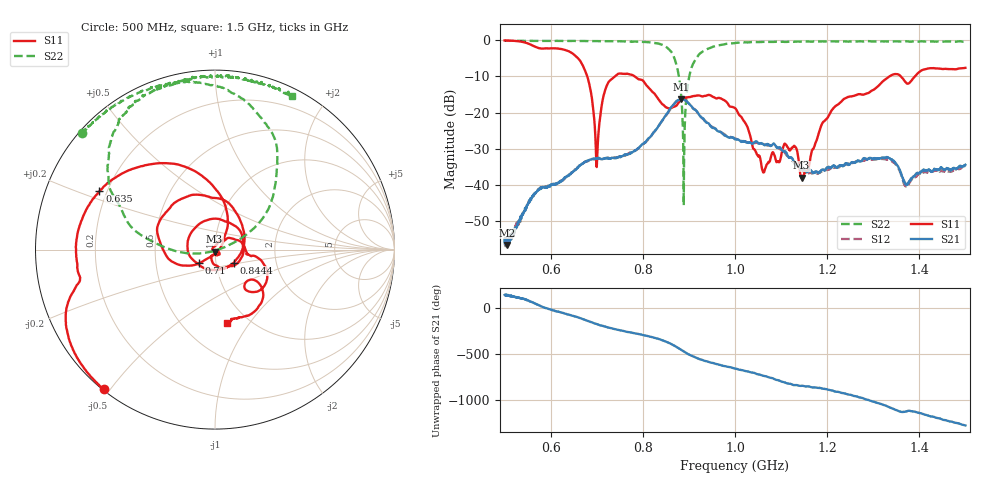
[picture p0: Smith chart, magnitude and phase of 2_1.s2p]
!Agilent Technologies,E8364B,US42250235,A.06.04.32
!Agilent E8364B: A.06.04.32
!Date: Friday, January 15, 2021 11:44:06
!Correction: S11(Full 2 Port(1,2)) S21(Full 2 Port(1,2)) S12(Full 2 Port(1,2)) S22(Full 2 Port(1,2))
!S2P File: Measurements: S11, S21, S12, S22:
# Hz S  dB  R 50
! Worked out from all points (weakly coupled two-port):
!   1601 points, 500 MHz to 1.5 GHz, reference 50 ohm
!   highest |S21| = -16.31 dB at 883.8 MHz (marker M1); lowest = -56.7 dB at 505 MHz (marker M2)
!   lowest |S11| = -38.1 dB at 1.144 GHz (marker M3), VSWR 1.03, Z = 49.7 - j1.22 ohm
!   |S11| at or under -10 dB: 679.3 MHz to 739.4 MHz (60.09 MHz wide, 8.47 % of centre); 782.3 MHz to 1.335 GHz (552.7 MHz wide, 52.2 % of centre); 1.36 GHz to 1.39 GHz (30.05 MHz wide, 2.19 % of centre)
!   |S22| runs from -45.7 to -0.1 dB; largest |S21 - S12| = 0.0061
!   S11 on the Smith chart (normalised r, x): 500 MHz: 0.00, -0.48; 635 MHz: 0.17, +0.23; 710 MHz: 0.83, -0.13; 844.4 MHz: 1.22, -0.18; 1.5 GHz: 0.80, -0.79
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5e8  -0.05 -128.6  -55.95 140.0  -56.41 139.5  -0.13 138.7
5.05e8  -0.06 -130.9  -56.72 138.1  -56.69 131.9  -0.15 138.5
6.35e8  -2.84 153.2  -37.68 -69.6  -37.66 -69.3  -0.17 125.8
6.66875e8  -6.30 109.0  -34.24 -117.6  -34.49 -118.0  -0.18 122.3
6.99375e8  -34.95 -23.3  -32.73 -175.9  -32.71 -175.5  -0.22 119.0
7.1e8  -18.63 -139.4  -32.91 165.8  -32.81 166.8  -0.23 117.6
7.49375e8  -9.20 154.5  -32.24 116.7  -32.23 117.5  -0.26 111.3
8.3375e8  -16.30 0.7  -23.79 21.2  -23.87 21.5  -0.90 87.1
8.44375e8  -17.85 -34.3  -21.80 2.9  -21.87 2.3  -1.37 79.7
8.7125e8  -18.22 -136.1  -17.03 -60.9  -17.18 -59.9  -6.02 47.6
8.8375e8  -16.43 -176.3  -16.31 -100.4  -16.41 -99.0  -16.14 23.3
8.9e8  -16.05 165.9  -16.49 -119.7  -16.49 -118.3  -28.51 -157.7
9.01875e8  -15.70 133.2  -17.78 -153.2  -17.75 -152.2  -9.32 173.2
9.23125e8  -15.29 82.1  -20.84 160.5  -20.75 162.8  -3.74 151.6
1e9  -18.75 -67.1  -27.40 58.0  -27.19 59.0  -0.76 122.0
1.061875e9  -36.59 -74.5  -28.89 -21.3  -28.89 -19.2  -0.43 110.9
1.11e9  -28.78 -51.7  -30.92 -97.0  -31.49 -96.2  -0.43 105.3
1.144375e9  -38.05 -101.6  -35.85 -130.5  -35.83 -130.1  -0.38 101.0
1.166875e9  -30.57 71.4  -36.36 -145.9  -36.61 -140.1  -0.34 98.4
1.33375e9  -10.09 -21.5  -32.56 -0.8  -33.00 3.5  -0.33 81.7
1.371875e9  -11.83 -49.9  -39.98 -47.9  -40.41 -43.9  -0.27 77.4
1.5e9  -7.63 -80.6  -34.48 158.8  -35.08 158.9  -0.37 63.3
